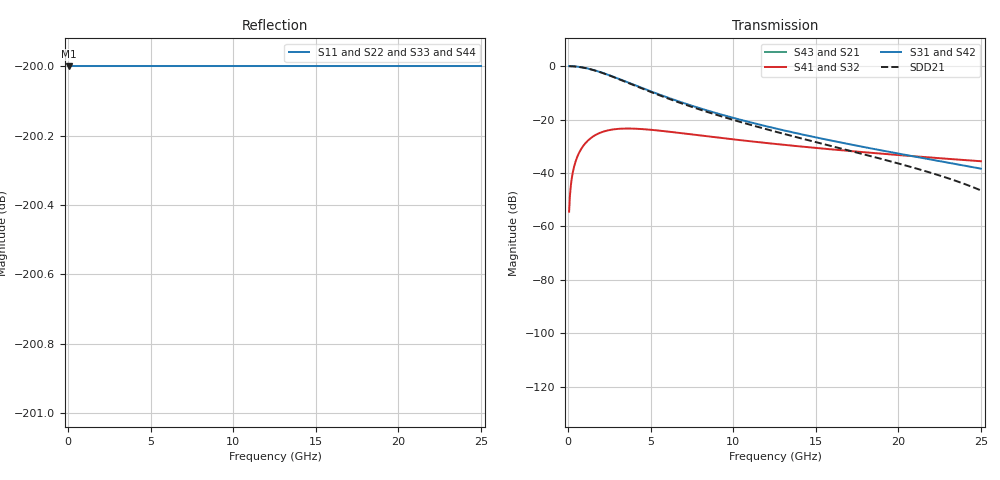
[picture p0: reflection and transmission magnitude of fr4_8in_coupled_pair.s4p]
! Synthetic FR4-like differential pair, 8.00 in (+) and 8.10 in (-), ~1.16 dB/in at 5 GHz, even mode 12 ps slower. Ports: P1,P2 in -> P3,P4 out. Generated for DAW_LAB.
# GHz S RI R 50
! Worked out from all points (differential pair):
!   500 points, 50 MHz to 25 GHz, reference 50 ohm
!   strongest paths, dB at 50 MHz, 6.3 GHz, 12.55 GHz, 18.8 GHz, 25 GHz:
!     S31: 0.0, -12.4, -23.3, -31.3, -38.4
!     S42: 0.0, -12.5, -23.5, -31.5, -38.6
!     S41: -54.5, -24.7, -29.1, -32.7, -35.6
!     S32: -54.5, -24.8, -29.3, -32.8, -35.8
!     S43: -, -, -, -, -
!     S21: -, -, -, -, -
!   taken as a pair (ports 1,2 in; 3,4 out), SDD21 dB: 0.0, -12.7, -24.5, -34.5, -46.5
!   lowest |S11| = - dB at 50 MHz (marker M1), VSWR 1.00, Z = 50 + j0 ohm
!   |S11| at or under -10 dB: start of sweep to end of sweep
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0.05  0 0  0 0  0.8973 -0.441  -0.000831 -0.00169
      0 0  0 0  -0.000841 -0.00169  0.8948 -0.446
      0.8973 -0.441  -0.000841 -0.00169  0 0  0 0
      -0.000831 -0.00169  0.8948 -0.446  0 0  0 0
0.35  0 0  0 0  -0.9891 0.0548  0.000723 0.0131
      0 0  0 0  0.00124 0.013  -0.986 0.0936
      -0.9891 0.0548  0.00124 0.013  0 0  0 0
      0.000723 0.0131  -0.986 0.0936  0 0  0 0
0.7  0 0  0 0  0.958 -0.103  -0.00272 -0.0253
     0 0  0 0  -0.00469 -0.025  0.9463 -0.1778
     0.958 -0.103  -0.00469 -0.025  0 0  0 0
     -0.00272 -0.0253  0.9463 -0.1778  0 0  0 0
1.05  0 0  0 0  -0.9109 0.1397  0.00553 0.0361
      0 0  0 0  0.00971 0.0351  -0.8868 0.2453
      -0.9109 0.1397  0.00971 0.0351  0 0  0 0
      0.00553 0.0361  -0.8868 0.2453  0 0  0 0
1.4  0 0  0 0  0.8532 -0.1625  -0.00858 -0.0451
     0 0  0 0  -0.0155 -0.0431  0.8153 -0.2926
     0.8532 -0.1625  -0.0155 -0.0431  0 0  0 0
     -0.00858 -0.0451  0.8153 -0.2926  0 0  0 0
1.7  0 0  0 0  -0.7943 -0.1931  -0.0124 0.051
     0 0  0 0  -0.00256 0.0522  -0.8134 -0.0399
     -0.7943 -0.1931  -0.00256 0.0522  0 0  0 0
     -0.0124 0.051  -0.8134 -0.0399  0 0  0 0
25  0 0  0 0  -0.00956 0.00734  0.0101 0.0132
    0 0  0 0  -0.00302 -0.016  0.0116 -0.00219
    -0.00956 0.00734  -0.00302 -0.016  0 0  0 0
    0.0101 0.0132  0.0116 -0.00219  0 0  0 0
